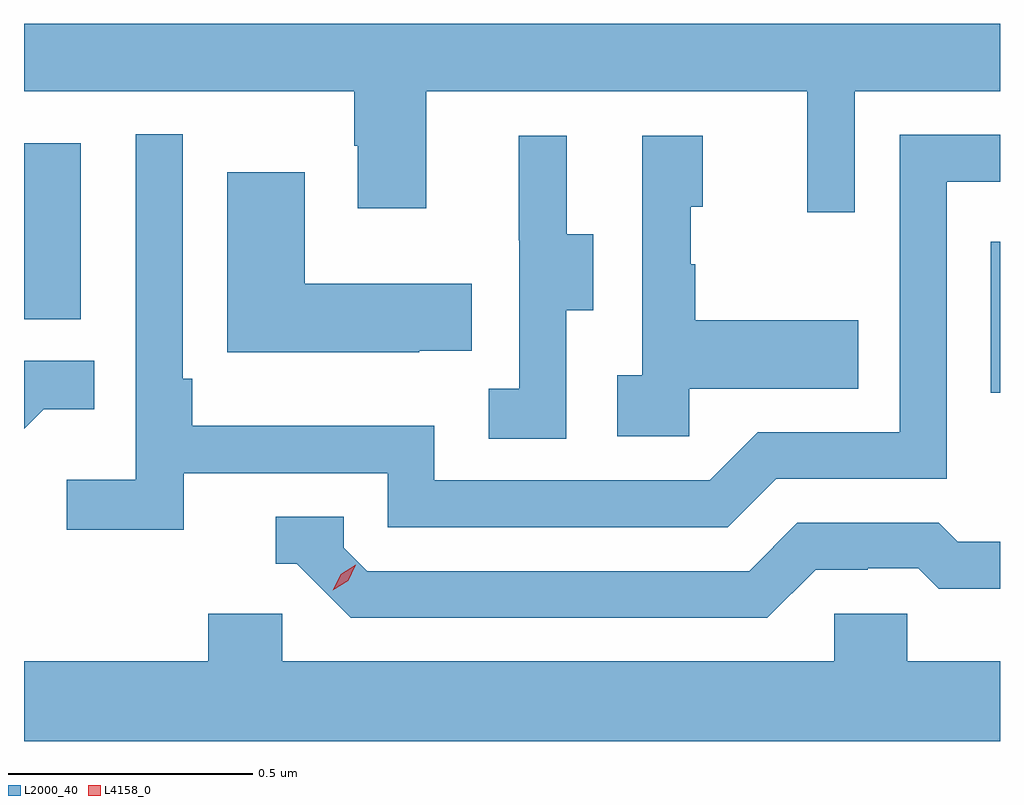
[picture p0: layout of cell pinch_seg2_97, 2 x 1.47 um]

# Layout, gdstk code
import gdstk
lib = gdstk.Library(unit=1e-6, precision=1e-09)
def R(c, l, rs):  # rectangles x0, y0, x1, y1
    for r in rs: c.add(gdstk.rectangle(r[:2], r[2:], *l))
def P(c, l, *ps):  # polygons
    for p in ps: c.add(gdstk.Polygon(p, *l))
L2000_40 = (2000, 40)
L4158_0 = (4158, 0)

pinch_seg2_97 = lib.new_cell('pinch_seg2_97')
R(pinch_seg2_97, L2000_40, [(1055.574,640.359,1055.593,640.668), (1053.593,640.509,1053.709,640.87)])
P(pinch_seg2_97, L2000_40, [(1055.295,640.976),(1055.593,640.976),(1055.593,641.115),(1053.593,641.115),(1053.593,640.976),(1054.27,640.976),(1054.27,640.865),(1054.277,640.865),(1054.277,640.737),(1054.417,640.737),(1054.417,640.976),(1055.198,640.976),(1055.198,640.728),(1055.295,640.728)],
  [(1053.92,640.194),(1054.338,640.194),(1054.338,640.083),(1055.035,640.083),(1055.134,640.182),(1055.484,640.182),(1055.484,640.791),(1055.593,640.791),(1055.593,640.887),(1055.388,640.887),(1055.388,640.278),(1055.097,640.278),(1054.998,640.179),(1054.434,640.179),(1054.434,640.291),(1053.938,640.291),(1053.938,640.387),(1053.918,640.387),(1053.918,640.888),(1053.822,640.888),(1053.822,640.18),(1053.681,640.18),(1053.681,640.078),(1053.92,640.078)],
  [(1054.956,640.367),(1055.303,640.367),(1055.303,640.507),(1054.969,640.507),(1054.969,640.622),(1054.959,640.622),(1054.959,640.74),(1054.984,640.74),(1054.984,640.885),(1054.86,640.885),(1054.86,640.394),(1054.809,640.394),(1054.809,640.269),(1054.956,640.269)],
  [(1054.704,640.528),(1054.759,640.528),(1054.759,640.683),(1054.705,640.683),(1054.705,640.885),(1054.607,640.885),(1054.607,640.671),(1054.608,640.671),(1054.608,640.367),(1054.545,640.367),(1054.545,640.264),(1054.704,640.264)],
  [(1054.403,640.445),(1054.511,640.445),(1054.511,640.582),(1054.168,640.582),(1054.168,640.81),(1054.01,640.81),(1054.01,640.442),(1054.403,640.442)],
  [(1053.633,640.325),(1053.737,640.325),(1053.737,640.424),(1053.593,640.424),(1053.593,640.285)],
  [(1055.215,639.996),(1055.322,639.996),(1055.322,639.999),(1055.425,639.999),(1055.467,639.957),(1055.593,639.957),(1055.593,640.053),(1055.506,640.053),(1055.467,640.092),(1055.178,640.092),(1055.079,639.993),(1054.296,639.993),(1054.248,640.041),(1054.248,640.104),(1054.109,640.104),(1054.109,640.008),(1054.152,640.008),(1054.263,639.897),(1055.116,639.897)],
  [(1055.593,639.808),(1055.403,639.808),(1055.403,639.906),(1055.253,639.906),(1055.253,639.808),(1054.122,639.808),(1054.122,639.906),(1053.971,639.906),(1053.971,639.808),(1053.593,639.808),(1053.593,639.644),(1055.593,639.644)])
P(pinch_seg2_97, L4158_0, [(1054.226,639.954),(1054.226,639.954),(1054.242,639.987),(1054.273,640.006),(1054.273,640.006),(1054.273,640.006),(1054.257,639.973),(1054.226,639.954)])

lib.write_gds('pinch_seg2_97.gds')
